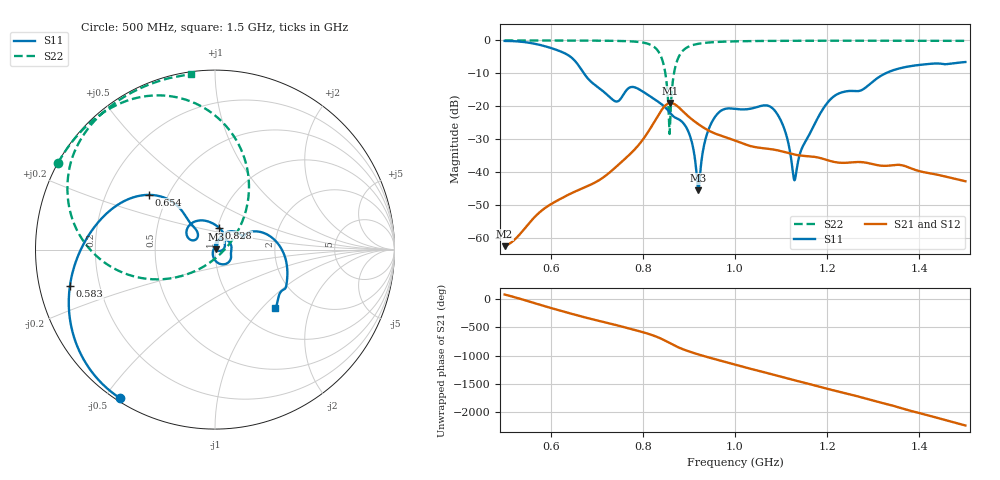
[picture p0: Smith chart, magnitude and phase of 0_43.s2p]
! TOUCHSTONE file generated by CST MICROWAVE STUDIO
! Date and time: Sat Oct 24 11:17:54 2020
! Project name: Scenario_1_Circular_Tissue_in_Line.cst
! Parameters = {L_HA=400; MT=2.54; Rad_Dielectric=30; Rad_Lower=7.3; Rad_Upper=30; a_HA=580; a_WG=246; b_HA=500; b_WG=121; c_HA=0; c_WG=187; d_feed=85; dx1=900.44; h_feed=15; h_lower=18; h_upper=40}
! Header version: 2018
! Port assignment regex: !\s*Touchstone port\s*([0-9]+)\s*=\s*(CST MWS port|CST DS port)\s*([0-9]+|Zmin|Zmax)\s*\(\"(.*)\"\)(\s*mode\s*([0-9]+))?.*
! Touchstone port assignment:
! Touchstone port 1 = CST MWS port 1 ("")
! Touchstone port 2 = CST MWS port 2 ("")
# GHz S DB R 50
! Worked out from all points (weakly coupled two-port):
!   1003 points, 500 MHz to 1.5 GHz, reference 50 ohm
!   highest |S21| = -18.98 dB at 860 MHz (marker M1); lowest = -62.5 dB at 500 MHz (marker M2)
!   lowest |S11| = -45.5 dB at 920 MHz (marker M3), VSWR 1.01, Z = 50.5 + j0.232 ohm
!   |S11| at or under -10 dB: 672.1 MHz to 1.327 GHz (654.4 MHz wide, 65.5 % of centre)
!   |S22| runs from -28.4 to 0.0 dB; largest |S21 - S12| = 1.1e-05
!   S11 on the Smith chart (normalised r, x): 500 MHz: 0.01, -0.55; 583 MHz: 0.09, -0.12; 654 MHz: 0.39, +0.31; 828 MHz: 1.01, +0.25; 1.5 GHz: 1.42, -1.20
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0.5  -0.15 -122.5  -62.45 79.2  -62.45 79.2  -0.01 151.1
0.583  -1.59 -166.0  -51.36 -117.2  -51.36 -117.2  -0.02 145.4
0.654  -6.42 140.3  -45.80 79.2  -45.80 79.2  -0.04 139.6
0.667  -8.94 131.7  -45.00 50.5  -45.00 50.5  -0.04 138.3
0.739  -18.40 142.8  -38.74 -94.8  -38.74 -94.8  -0.13 129.4
0.777  -14.11 135.6  -33.85 -176.4  -33.85 -176.4  -0.31 121.2
0.828  -18.10 80.1  -23.97 58.0  -23.97 58.0  -2.39 91.2
0.834  -18.68 73.9  -22.57 38.1  -22.57 38.1  -3.42 83.4
0.86  -22.11 44.9  -18.98 -67.4  -18.98 -67.4  -22.12 -112.0
0.867  -23.12 40.0  -19.21 -96.9  -19.21 -96.9  -10.46 -147.5
0.877  -23.89 30.9  -20.20 -135.4  -20.20 -135.4  -5.24 -167.4
0.902  -28.85 -9.3  -23.44 147.1  -23.44 147.1  -1.71 166.9
0.92  -45.54 25.7  -25.37 100.3  -25.37 100.3  -1.03 157.8
0.95  -24.74 68.0  -27.86 29.9  -27.86 29.9  -0.55 148.9
1  -20.76 2.2  -30.40 -82.9  -30.40 -82.9  -0.28 140.2
1.085  -21.10 -67.2  -33.15 96.2  -33.15 96.2  -0.14 131.0
1.109  -27.66 -103.2  -33.94 43.7  -33.94 43.7  -0.12 128.9
1.129  -42.45 153.8  -34.64 2.1  -34.64 2.1  -0.11 127.2
1.167  -27.01 68.8  -35.25 -77.4  -35.25 -77.4  -0.10 124.2
1.215  -16.93 45.9  -36.88 -179.2  -36.88 -179.2  -0.09 120.5
1.334  -9.53 9.8  -38.01 -69.8  -38.00 -69.8  -0.09 111.4
1.5  -6.56 -44.2  -42.74 -78.4  -42.74 -78.4  -0.13 97.9
